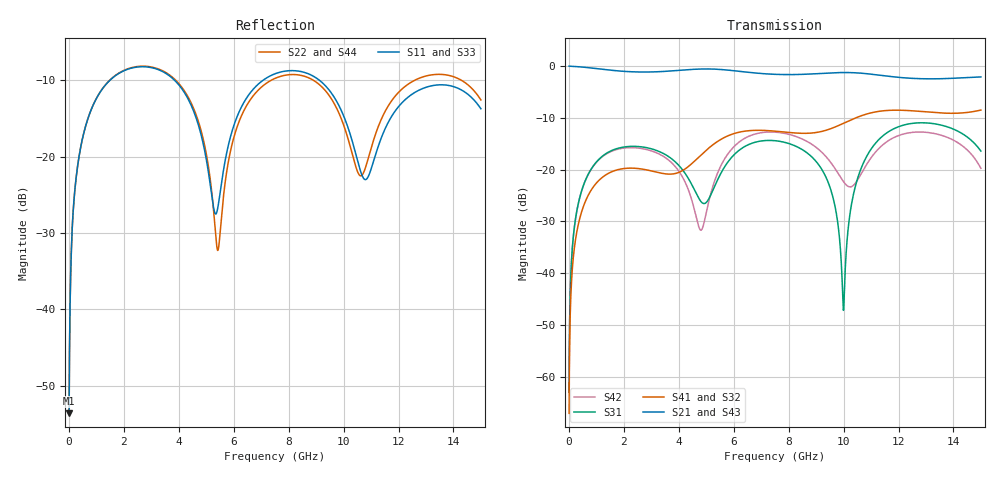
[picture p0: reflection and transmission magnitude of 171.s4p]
! Created with skrf 1.8.0 (http://scikit-rf.org).
# GHz S RI R 50.0
!freq ReS11 ImS11 ReS12 ImS12 ReS13 ImS13
! ReS14 ImS14
! ReS21 ImS21 ReS22 ImS22 ReS23 ImS23
! ReS24 ImS24
! ReS31 ImS31 ReS32 ImS32 ReS33 ImS33
! ReS34 ImS34
! ReS41 ImS41 ReS42 ImS42 ReS43 ImS43
! ReS44 ImS44
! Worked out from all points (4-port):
!   2499 points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, 5 MHz to 15 GHz, reference 50 ohm
!   strongest paths, dB at 5 MHz, 3.476 GHz, 7.19 GHz, 11.1 GHz, 15 GHz:
!     S21: 0.0, -1.0, -1.5, -1.6, -2.1
!     S43: 0.0, -1.0, -1.5, -1.6, -2.1
!     S41: -67.1, -20.8, -12.4, -8.9, -8.5
!     S32: -67.1, -20.9, -12.5, -8.9, -8.6
!     S31: -63.0, -17.0, -14.4, -15.3, -16.4
!     S42: -63.0, -17.6, -12.8, -17.0, -19.7
!   lowest |S11| = -53.6 dB at 5 MHz (marker M1), VSWR 1.00, Z = 50.2 + j0.126 ohm
!   |S11| at or under -10 dB: start of sweep to 1.49 GHz; 3.846 GHz to 7.066 GHz (3.22 GHz wide, 59 % of centre); 9.121 GHz to end of sweep
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0.005  0.00167 0.00126  0.9983 -0.00325  8.54e-05 0.000705  -8.27e-05 -0.000435
       0.9983 -0.00325  0.00167 0.00126  -8.26e-05 -0.000435  8.53e-05 0.000705
       8.54e-05 0.000705  -8.26e-05 -0.000435  0.00167 0.00126  0.9983 -0.00325
       -8.27e-05 -0.000435  8.53e-05 0.000705  0.9983 -0.00325  0.00167 0.00126
1.519383  0.2661 0.1775  0.5525 -0.7267  0.1383 0.0615  -0.0942 -0.00648
          0.5525 -0.7267  0.2688 0.1758  -0.094 -0.0068  0.131 0.0713
          0.1383 0.0615  -0.094 -0.0068  0.2663 0.1774  0.5525 -0.7267
          -0.0942 -0.00648  0.131 0.0713  0.5525 -0.7267  0.2686 0.1759
5.227178  0.0428 -0.0283  -0.9238 -0.1521  -0.0449 0.0428  -0.0229 0.1713
          -0.9238 -0.1521  0.0259 -0.0456  -0.0283 0.1705  0.0326 0.0588
          -0.0449 0.0428  -0.0283 0.1705  0.0414 -0.0273  -0.9238 -0.1519
          -0.0229 0.1713  0.0326 0.0588  -0.9238 -0.1519  0.0265 -0.0449
8.409754  0.3567 -0.0613  0.0206 0.8305  0.1533 -0.0489  0.2098 -0.0801
          0.0206 0.8305  0.3396 -0.0382  0.2099 -0.0675  0.1573 -0.1268
          0.1533 -0.0489  0.2099 -0.0675  0.36 -0.0645  0.0199 0.83
          0.2098 -0.0801  0.1573 -0.1268  0.0199 0.83  0.3387 -0.0334
9.991663  0.1262 -0.1378  0.6936 0.5197  0.00434 0.000668  0.1527 -0.2345
          0.6936 0.5197  0.1218 -0.1084  0.1683 -0.2232  -0.056 -0.0527
          0.00434 0.000668  0.1683 -0.2232  0.1235 -0.1422  0.6923 0.5209
          0.1527 -0.2345  -0.056 -0.0527  0.6923 0.5209  0.1286 -0.1055
11.29846  0.1051 0.0618  0.8086 -0.1199  0.1252 0.1519  -0.0964 -0.3531
          0.8086 -0.1199  0.1301 0.0987  -0.0741 -0.3576  0.0437 0.1554
          0.1252 0.1519  -0.0741 -0.3576  0.1034 0.064  0.8093 -0.1177
          -0.0964 -0.3531  0.0437 0.1554  0.8093 -0.1177  0.1327 0.0915
15  0.1789 -0.1021  -0.4227 -0.6624  0.0405 -0.1455  -0.282 0.249
    -0.4227 -0.6624  0.1698 -0.1627  -0.3039 0.2142  0.045 -0.0926
    0.0405 -0.1455  -0.3039 0.2142  0.1716 -0.1166  -0.4214 -0.6646
    -0.282 0.249  0.045 -0.0926  -0.4214 -0.6646  0.1723 -0.1466
